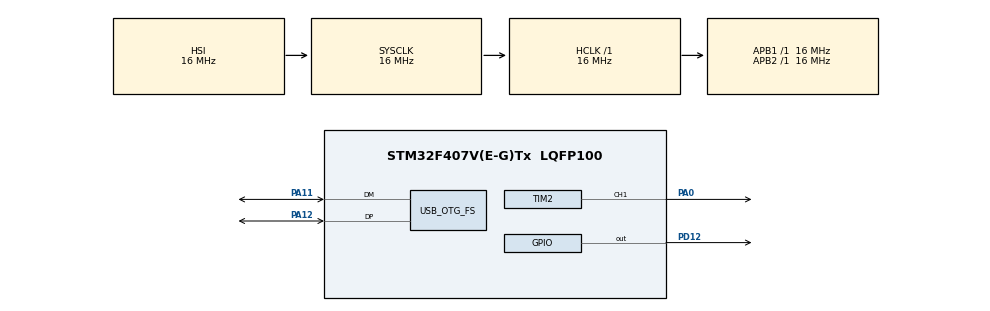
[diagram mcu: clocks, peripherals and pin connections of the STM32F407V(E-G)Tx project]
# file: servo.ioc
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Mcu.Family=STM32F4
USB_DEVICE.CLASS_NAME_FS=CDC
PH0-OSC_IN.Signal=RCC_OSC_IN
RCC.CortexFreq_Value=16000000
USB_DEVICE.VirtualModeFS=Cdc_FS
PA11.Mode=Device_Only
USB_DEVICE.VirtualMode-CDC_FS=Cdc
ProjectManager.StackSize=0x400
PA0-WKUP.Signal=S_TIM2_CH1_ETR
TIM2.Pulse-PWM\ Generation1\ CH1=50
PA13.Signal=SYS_JTMS-SWDIO
PA12.Signal=USB_OTG_FS_DP
ProjectManager.TargetToolchain=STM32CubeIDE
VP_USB_DEVICE_VS_USB_DEVICE_CDC_FS.Mode=CDC_FS
RCC.LSE_VALUE=32768
RCC.AHBFreq_Value=16000000
PH0-OSC_IN.Mode=HSE-External-Oscillator
RCC.HSE_VALUE=8000000
board=custom
RCC.VCOOutputFreq_Value=144000000
RCC.APB2Freq_Value=16000000
PA14.Mode=Serial_Wire
PH1-OSC_OUT.Signal=RCC_OSC_OUT
TIM2.Channel-PWM\ Generation1\ CH1=TIM_CHANNEL_1
TIM2.Period=2000-1
PA13.Mode=Serial_Wire
Mcu.Name=STM32F407V(E-G)Tx
RCC.48MHZClocksFreq_Value=48000000
PH1-OSC_OUT.Mode=HSE-External-Oscillator
RCC.SYSCLKFreq_VALUE=16000000
Mcu.Package=LQFP100
TIM2.Prescaler=160-1
PA12.Mode=Device_Only
PD12.Signal=GPIO_Output
NVIC.OTG_FS_IRQn=true\:0\:0\:false\:false\:true\:false\:true
PA11.Signal=USB_OTG_FS_DM
SH.S_TIM2_CH1_ETR.0=TIM2_CH1,PWM Generation1 CH1
PA14.Signal=SYS_JTCK-SWCLK
USB_OTG_FS.VirtualMode=Device_Only
ProjectManager.HeapSize=0x200
RCC.HSI_VALUE=16000000
RCC.PLLQ=3
NVIC.PriorityGroup=NVIC_PRIORITYGROUP_4
RCC.PLLM=4
RCC.PLLN=72
TIM2.AutoReloadPreload=TIM_AUTORELOAD_PRELOAD_ENABLE
RCC.APB1Freq_Value=16000000

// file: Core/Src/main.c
/* USER CODE BEGIN Header */
/**
  ******************************************************************************
  * @file           : main.c
  * @brief          : Main program body
  ******************************************************************************
  * @attention
  *
  * <h2><center>&copy; Copyright (c) 2021 STMicroelectronics.
  * All rights reserved.</center></h2>
  *
  * This software component is licensed by ST under BSD 3-Clause license,
  * the "License"; You may not use this file except in compliance with the
  * License. You may obtain a copy of the License at:
  *                        opensource.org/licenses/BSD-3-Clause
  *
  ******************************************************************************
  */
/* USER CODE END Header */
#include "main.h"
#include "usb_device.h"

TIM_HandleTypeDef htim2;

/* USER CODE BEGIN PV */
void servo_write(int);
void servo_sweep(void);
int map(int, int, int, int, int);
/* USER CODE END PV */

void SystemClock_Config(void);
static void MX_GPIO_Init(void);
static void MX_TIM2_Init(void);

int main(void)
{

  /* MCU Configuration--------------------------------------------------------*/

  /* Reset of all peripherals, Initializes the Flash interface and the Systick. */
  HAL_Init();

  /* Configure the system clock */
  SystemClock_Config();

  /* Initialize all configured peripherals */
  MX_GPIO_Init();
  MX_TIM2_Init();
  MX_USB_DEVICE_Init();
  /* USER CODE BEGIN 2 */
  HAL_TIM_PWM_Start(&htim2,TIM_CHANNEL_1);
  /* USER CODE END 2 */

  /* Infinite loop */
  /* USER CODE BEGIN WHILE */
  while (1)
  {
	  HAL_GPIO_TogglePin(GPIOD, GPIO_PIN_12);
 // htim2.Instance->CCR1 = 2000/20;  // duty cycle is .5 ms =100 *x
  //HAL_Delay(2000);
// htim2.Instance->CCR1 = 3*2000/20;  // duty cycle is 1.5 ms
 //HAL_Delay(2000);
  //htim2.Instance->CCR1 =5*2000/20;  // duty cycle is 2.5 ms

 // HAL_Delay(2000);

servo_sweep();

    /* USER CODE END WHILE */

  }
}

void SystemClock_Config(void)
{
  RCC_OscInitTypeDef RCC_OscInitStruct = {0};
  RCC_ClkInitTypeDef RCC_ClkInitStruct = {0};

  /** Configure the main internal regulator output voltage
  */
  __HAL_RCC_PWR_CLK_ENABLE();
  __HAL_PWR_VOLTAGESCALING_CONFIG(PWR_REGULATOR_VOLTAGE_SCALE1);
  /** Initializes the RCC Oscillators according to the specified parameters
  * in the RCC_OscInitTypeDef structure.
  */
  RCC_OscInitStruct.OscillatorType = RCC_OSCILLATORTYPE_HSI|RCC_OSCILLATORTYPE_HSE;
  RCC_OscInitStruct.HSEState = RCC_HSE_ON;
  RCC_OscInitStruct.HSIState = RCC_HSI_ON;
  RCC_OscInitStruct.HSICalibrationValue = RCC_HSICALIBRATION_DEFAULT;
  RCC_OscInitStruct.PLL.PLLState = RCC_PLL_ON;
  RCC_OscInitStruct.PLL.PLLSource = RCC_PLLSOURCE_HSE;
  RCC_OscInitStruct.PLL.PLLM = 4;
  RCC_OscInitStruct.PLL.PLLN = 72;
  RCC_OscInitStruct.PLL.PLLP = RCC_PLLP_DIV2;
  RCC_OscInitStruct.PLL.PLLQ = 3;
  if (HAL_RCC_OscConfig(&RCC_OscInitStruct) != HAL_OK)
  {
    Error_Handler();
  }
  /** Initializes the CPU, AHB and APB buses clocks
  */
  RCC_ClkInitStruct.ClockType = RCC_CLOCKTYPE_HCLK|RCC_CLOCKTYPE_SYSCLK
                              |RCC_CLOCKTYPE_PCLK1|RCC_CLOCKTYPE_PCLK2;
  RCC_ClkInitStruct.SYSCLKSource = RCC_SYSCLKSOURCE_HSI;
  RCC_ClkInitStruct.AHBCLKDivider = RCC_SYSCLK_DIV1;
  RCC_ClkInitStruct.APB1CLKDivider = RCC_HCLK_DIV1;
  RCC_ClkInitStruct.APB2CLKDivider = RCC_HCLK_DIV1;

  if (HAL_RCC_ClockConfig(&RCC_ClkInitStruct, FLASH_LATENCY_0) != HAL_OK)
  {
    Error_Handler();
  }
}

static void MX_TIM2_Init(void)
{

  TIM_MasterConfigTypeDef sMasterConfig = {0};
  TIM_OC_InitTypeDef sConfigOC = {0};

  htim2.Instance = TIM2;
  htim2.Init.Prescaler = 160-1;
  htim2.Init.CounterMode = TIM_COUNTERMODE_UP;
  htim2.Init.Period = 2000-1;
  htim2.Init.ClockDivision = TIM_CLOCKDIVISION_DIV1;
  htim2.Init.AutoReloadPreload = TIM_AUTORELOAD_PRELOAD_ENABLE;
  if (HAL_TIM_PWM_Init(&htim2) != HAL_OK)
  {
    Error_Handler();
  }
  sMasterConfig.MasterOutputTrigger = TIM_TRGO_RESET;
  sMasterConfig.MasterSlaveMode = TIM_MASTERSLAVEMODE_DISABLE;
  if (HAL_TIMEx_MasterConfigSynchronization(&htim2, &sMasterConfig) != HAL_OK)
  {
    Error_Handler();
  }
  sConfigOC.OCMode = TIM_OCMODE_PWM1;
  sConfigOC.Pulse = 50;
  sConfigOC.OCPolarity = TIM_OCPOLARITY_HIGH;
  sConfigOC.OCFastMode = TIM_OCFAST_DISABLE;
  if (HAL_TIM_PWM_ConfigChannel(&htim2, &sConfigOC, TIM_CHANNEL_1) != HAL_OK)
  {
    Error_Handler();
  }
  HAL_TIM_MspPostInit(&htim2);

}

static void MX_GPIO_Init(void)
{
  GPIO_InitTypeDef GPIO_InitStruct = {0};

  /* GPIO Ports Clock Enable */
  __HAL_RCC_GPIOH_CLK_ENABLE();
  __HAL_RCC_GPIOA_CLK_ENABLE();
  __HAL_RCC_GPIOD_CLK_ENABLE();

  /*Configure GPIO pin Output Level */
  HAL_GPIO_WritePin(GPIOD, GPIO_PIN_12, GPIO_PIN_RESET);

  /*Configure GPIO pin : PD12 */
  GPIO_InitStruct.Pin = GPIO_PIN_12;
  GPIO_InitStruct.Mode = GPIO_MODE_OUTPUT_PP;
  GPIO_InitStruct.Pull = GPIO_NOPULL;
  GPIO_InitStruct.Speed = GPIO_SPEED_FREQ_LOW;
  HAL_GPIO_Init(GPIOD, &GPIO_InitStruct);

}

/* USER CODE BEGIN 4 */
int map(int st1, int fn1, int st2, int fn2, int value)
{
    return (1.0*(value-st1))/((fn1-st1)*1.0) * (fn2-st2)+st2;
}
void servo_write(int angle)
{
	htim2.Instance->CCR1 = map(0,180,50,250,angle);
}
void servo_sweep(void)
{
		for(int i = 0; i <= 180; i++)
		{
			servo_write(i);
			HAL_Delay(10);
		}
		for(int i = 180; i >= 0; i--)
		{
			servo_write(i);
			HAL_Delay(10);
		}
}
/* USER CODE END 4 */

void Error_Handler(void)
{
  __disable_irq();
  while (1)
  {
  }
}

/************************ (C) COPYRIGHT STMicroelectronics *****END OF FILE****/
